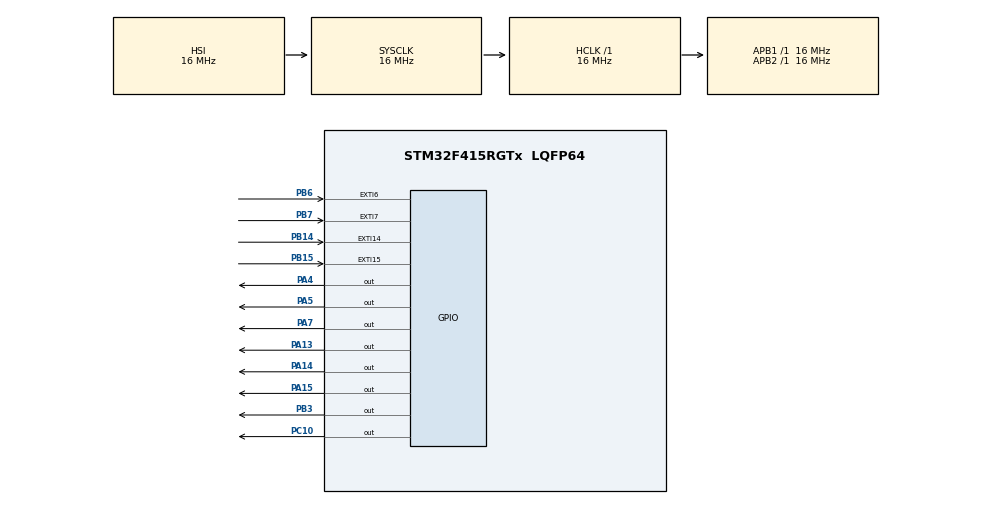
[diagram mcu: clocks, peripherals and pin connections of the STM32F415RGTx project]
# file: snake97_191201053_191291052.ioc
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Mcu.Family=STM32F4
Mcu.Name=STM32F415RGTx
Mcu.Package=LQFP64
NVIC.EXTI15_10_IRQn=true\:0\:0\:false\:false\:true\:true\:true
NVIC.EXTI9_5_IRQn=true\:0\:0\:false\:false\:true\:true\:true
NVIC.PriorityGroup=NVIC_PRIORITYGROUP_4
PA13.Signal=GPIO_Output
PA14.Signal=GPIO_Output
PA15.Signal=GPIO_Output
PA4.Signal=GPIO_Output
PA5.Signal=GPIO_Output
PA7.Signal=GPIO_Output
PB14.GPIO_PuPd=GPIO_PULLDOWN
PB14.Signal=GPXTI14
PB15.GPIO_PuPd=GPIO_PULLDOWN
PB15.Signal=GPXTI15
PB3.Signal=GPIO_Output
PB6.GPIO_PuPd=GPIO_PULLDOWN
PB6.Signal=GPXTI6
PB7.GPIO_PuPd=GPIO_PULLDOWN
PB7.Signal=GPXTI7
PC10.Signal=GPIO_Output
ProjectManager.HeapSize=0x200
ProjectManager.StackSize=0x400
ProjectManager.TargetToolchain=MDK-ARM V5.27
RCC.AHBFreq_Value=16000000
RCC.APB1Freq_Value=16000000
RCC.APB2Freq_Value=16000000
RCC.CortexFreq_Value=16000000
RCC.HSE_VALUE=25000000
RCC.HSI_VALUE=16000000
RCC.LSE_VALUE=32768
RCC.SYSCLKFreq_VALUE=16000000
RCC.VCOOutputFreq_Value=192000000
VP_RTC_VS_RTC_Activate.Mode=RTC_Enabled
VP_RTC_VS_RTC_Calendar.Mode=RTC_Calendar
board=custom

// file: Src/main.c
/* USER CODE BEGIN Header */
/**
  **********
  * @file           : main.c
  * @brief          : Main program body
  **********
  * @attention
  *
  * <h2><center>&copy; Copyright (c) 2021 STMicroelectronics.
  * All rights reserved.</center></h2>
  *
  * This software component is licensed by ST under BSD 3-Clause license,
  * the "License"; You may not use this file except in compliance with the
  * License. You may obtain a copy of the License at:
  *                        opensource.org/licenses/BSD-3-Clause
  *
  **********
  */
/* USER CODE END Header */
#include "main.h"
#include <stdlib.h>
#include <stdio.h>
#include "Nokia_5110.h"
#include "dwt_delay.h"

/* USER CODE BEGIN PD */

	#define YUKARI 0
	#define ASAGI 1
	#define SOL 2
	#define SAG 3

	#define ZOR 3
	#define ORTA 2
	#define KOLAY 1

/* USER CODE END PD */

RTC_HandleTypeDef hrtc;

/* USER CODE BEGIN PV */
	struct snake
	{
		uint8_t tail;
		uint8_t x_coor;
		uint8_t y_coor;
	};

	uint16_t RTC_counter = 0;
	uint8_t yon = YUKARI;
	uint8_t i;
	uint8_t fruit_x = 8;
	uint8_t fruit_y = 3;
	uint32_t diff = 0;
	uint8_t diffFlag = 0;
	uint8_t yilanin_neresi = 1; // Bu degisken yilan dizisinde nerede oldugumuzu gosterecek. Her yem yedigimizde artacak max 49 olacak
															// Ayni zamanda
	struct snake snake_array[50] = {0};
	struct snake snake_temp[50] = {0};

	char buffer_skor[5] = {0};
	char buffer_sure[16] = {0};

	int second = 0, minutes = 0, hours = 0;

	RTC_TimeTypeDef sTime;
  RTC_DateTypeDef sDate;

/* USER CODE END PV */

void SystemClock_Config(void);
static void MX_GPIO_Init(void);
static void MX_RTC_Init(void);
/* USER CODE BEGIN PFP */

void generateScreen(void);
void generateRandomFruitCoor(void);
void printRandomFruit(void);
void startMenu(void);
uint8_t selfCollisionControl(void);
uint8_t boundaryCollisionControl(void);

/* USER CODE END PFP */

int main(void)
{

  /* MCU Configuration--------------------------------------------------------*/

  /* Reset of all peripherals, Initializes the Flash interface and the Systick. */
  HAL_Init();

  /* Configure the system clock */
  SystemClock_Config();

  /* Initialize all configured peripherals */
  MX_GPIO_Init();
  MX_RTC_Init();
  /* USER CODE BEGIN 2 */
	NOKIA_Init();
	HAL_GPIO_WritePin(GPIOC, GPIO_PIN_10,GPIO_PIN_SET);
	snake_array[0].x_coor = 4;
	snake_array[0].y_coor = 5;
	snake_array[0].tail = 1;
	startMenu();
	generateRandomFruitCoor();
  /* USER CODE END 2 */

  /* Infinite loop */
  while (1)
  {

    /* USER CODE BEGIN 3 */
			if((selfCollisionControl()) || (boundaryCollisionControl()))
			{
			NOKIA_Clear();
			sprintf(buffer_skor," %d ",(uint32_t)(yilanin_neresi));
			uint8_t counter = 0;

			HAL_RTC_GetTime(&hrtc, &sTime, RTC_FORMAT_BIN);
			second = sTime.Seconds - (2) - (RTC_counter);
			minutes = sTime.Minutes;
			hours = sTime.Hours;
			sprintf(buffer_sure,"Sure: %d:%d:%d",hours,minutes,second);

			while(counter < 3)
			{
				for(i = 0; i < yilanin_neresi;i++)
				{
					NOKIA_Out(snake_array[i].y_coor, snake_array[i].x_coor,"0");
				}
				HAL_Delay(750);
				NOKIA_Clear();
				HAL_Delay(750);
				counter++;
			}

			NOKIA_Out(3,2,"Oyun Bitti");
			HAL_Delay(2000);
			NOKIA_Clear();

			NOKIA_Out(3,2,"Skor: ");
			NOKIA_Out(3,8,buffer_skor);

		  NOKIA_Out(5,1,buffer_sure);
			HAL_Delay(2000);

			break;

			}
			generateScreen();
			printRandomFruit();

			/*
			TODO: Her seyin basinda burada oyunun bitip bitmrdigi kontrol edilecek
			*/

			if(yon == YUKARI)
			{
				for(i = 0; i < yilanin_neresi;i++)
					{
						if(i == 0)
							{

								snake_temp[i].x_coor=snake_array[i].x_coor;
								snake_temp[i].y_coor=snake_array[i].y_coor;

								(snake_array[0].y_coor)-=1;
							}

						else if(i==1){
								snake_temp[i].x_coor=snake_array[i].x_coor;
								snake_temp[i].y_coor=snake_array[i].y_coor;

						 snake_array[i].x_coor=snake_temp[i-1].x_coor;
						 snake_array[i].y_coor=snake_temp[i-1].y_coor;

						}
						else if(i>1 && i<yilanin_neresi)
						{
							snake_temp[i].x_coor=snake_array[i].x_coor;
							snake_temp[i].y_coor=snake_array[i].y_coor;

							snake_array[i].x_coor = snake_temp[i - 1].x_coor;
							snake_array[i].y_coor = snake_temp[i - 1].y_coor;
						}
						NOKIA_Out(snake_array[i].y_coor, snake_array[i].x_coor,"0");
					}

			}else if(yon == ASAGI)
			{
				for(i = 0; i < yilanin_neresi;i++)
					{
					if(i == 0)
							{

								snake_temp[i].x_coor=snake_array[i].x_coor;
								snake_temp[i].y_coor=snake_array[i].y_coor;

								(snake_array[0].y_coor)+=1;
							}

						else if(i==1){
								snake_temp[i].x_coor=snake_array[i].x_coor;
								snake_temp[i].y_coor=snake_array[i].y_coor;

						 snake_array[i].x_coor=snake_temp[i-1].x_coor;
						 snake_array[i].y_coor=snake_temp[i-1].y_coor;

						}
						else if(i>1 && i<yilanin_neresi)
						{
							snake_temp[i].x_coor=snake_array[i].x_coor;
							snake_temp[i].y_coor=snake_array[i].y_coor;

							snake_array[i].x_coor = snake_temp[i - 1].x_coor;
							snake_array[i].y_coor = snake_temp[i - 1].y_coor;
						}
						NOKIA_Out(snake_array[i].y_coor, snake_array[i].x_coor,"0");
					}

			}else if(yon == SOL)
			{
				for(i = 0; i < yilanin_neresi;i++)
					{
					if(i == 0)
							{

								snake_temp[i].x_coor=snake_array[i].x_coor;
								snake_temp[i].y_coor=snake_array[i].y_coor;

								(snake_array[0].x_coor)-=1;
							}

						else if(i==1){
								snake_temp[i].x_coor=snake_array[i].x_coor;
								snake_temp[i].y_coor=snake_array[i].y_coor;

						 snake_array[i].x_coor=snake_temp[i-1].x_coor;
						 snake_array[i].y_coor=snake_temp[i-1].y_coor;

						}
						else if(i>1 && i<yilanin_neresi)
						{
							snake_temp[i].x_coor=snake_array[i].x_coor;
							snake_temp[i].y_coor=snake_array[i].y_coor;

							snake_array[i].x_coor = snake_temp[i - 1].x_coor;
							snake_array[i].y_coor = snake_temp[i - 1].y_coor;
						}
						NOKIA_Out(snake_array[i].y_coor, snake_array[i].x_coor,"0");
					}
			}else if(yon == SAG)
			{
				for(i = 0; i < yilanin_neresi;i++)
					{
						if(i == 0)
							{

								snake_temp[i].x_coor=snake_array[i].x_coor;
								snake_temp[i].y_coor=snake_array[i].y_coor;

								(snake_array[0].x_coor)+=1;
							}

						else if(i==1){
								snake_temp[i].x_coor=snake_array[i].x_coor;
								snake_temp[i].y_coor=snake_array[i].y_coor;

						 snake_array[i].x_coor=snake_temp[i-1].x_coor;
						 snake_array[i].y_coor=snake_temp[i-1].y_coor;

						}
						else if(i>1 && i<yilanin_neresi)
						{
							snake_temp[i].x_coor=snake_array[i].x_coor;
							snake_temp[i].y_coor=snake_array[i].y_coor;

							snake_array[i].x_coor = snake_temp[i - 1].x_coor;
							snake_array[i].y_coor = snake_temp[i - 1].y_coor;
						}
						NOKIA_Out(snake_array[i].y_coor, snake_array[i].x_coor,"0");
					}
			}

			HAL_Delay(1000 - (300*diff));
			NOKIA_Clear();

			if( (snake_array[0].x_coor == fruit_x ) && (snake_array[0].y_coor == fruit_y))
			{

				if(yon == YUKARI)
				{
					snake_array[yilanin_neresi].x_coor = snake_array[yilanin_neresi - 1].x_coor;
					snake_array[yilanin_neresi].y_coor = snake_array[yilanin_neresi - 1].y_coor + 1;
				}
				else if(yon == ASAGI)
				{
					snake_array[yilanin_neresi].x_coor = snake_array[yilanin_neresi - 1].x_coor;
					snake_array[yilanin_neresi].y_coor = snake_array[yilanin_neresi - 1].y_coor - 1;
				}
				else if(yon == SOL)
				{
					snake_array[yilanin_neresi].y_coor = snake_array[yilanin_neresi - 1].y_coor;
					snake_array[yilanin_neresi].x_coor = snake_array[yilanin_neresi - 1].x_coor + 1;
				}
				else if(yon == SAG)
				{
					snake_array[yilanin_neresi].y_coor = snake_array[yilanin_neresi - 1].y_coor;
					snake_array[yilanin_neresi].x_coor = snake_array[yilanin_neresi - 1].x_coor - 1;
				}
				yilanin_neresi++;
				generateRandomFruitCoor();
			}

	}
  /* USER CODE END 3 */
}

void SystemClock_Config(void)
{
  RCC_OscInitTypeDef RCC_OscInitStruct = {0};
  RCC_ClkInitTypeDef RCC_ClkInitStruct = {0};

  /** Configure the main internal regulator output voltage
  */
  __HAL_RCC_PWR_CLK_ENABLE();
  __HAL_PWR_VOLTAGESCALING_CONFIG(PWR_REGULATOR_VOLTAGE_SCALE1);
  /** Initializes the RCC Oscillators according to the specified parameters
  * in the RCC_OscInitTypeDef structure.
  */
  RCC_OscInitStruct.OscillatorType = RCC_OSCILLATORTYPE_HSI|RCC_OSCILLATORTYPE_LSI;
  RCC_OscInitStruct.HSIState = RCC_HSI_ON;
  RCC_OscInitStruct.HSICalibrationValue = RCC_HSICALIBRATION_DEFAULT;
  RCC_OscInitStruct.LSIState = RCC_LSI_ON;
  RCC_OscInitStruct.PLL.PLLState = RCC_PLL_NONE;
  if (HAL_RCC_OscConfig(&RCC_OscInitStruct) != HAL_OK)
  {
    Error_Handler();
  }
  /** Initializes the CPU, AHB and APB buses clocks
  */
  RCC_ClkInitStruct.ClockType = RCC_CLOCKTYPE_HCLK|RCC_CLOCKTYPE_SYSCLK
                              |RCC_CLOCKTYPE_PCLK1|RCC_CLOCKTYPE_PCLK2;
  RCC_ClkInitStruct.SYSCLKSource = RCC_SYSCLKSOURCE_HSI;
  RCC_ClkInitStruct.AHBCLKDivider = RCC_SYSCLK_DIV1;
  RCC_ClkInitStruct.APB1CLKDivider = RCC_HCLK_DIV1;
  RCC_ClkInitStruct.APB2CLKDivider = RCC_HCLK_DIV1;

  if (HAL_RCC_ClockConfig(&RCC_ClkInitStruct, FLASH_LATENCY_0) != HAL_OK)
  {
    Error_Handler();
  }
}

static void MX_RTC_Init(void)
{

  RTC_TimeTypeDef sTime = {0};
  RTC_DateTypeDef sDate = {0};

  /** Initialize RTC Only
  */
  hrtc.Instance = RTC;
  hrtc.Init.HourFormat = RTC_HOURFORMAT_24;
  hrtc.Init.AsynchPrediv = 127;
  hrtc.Init.SynchPrediv = 255;
  hrtc.Init.OutPut = RTC_OUTPUT_DISABLE;
  hrtc.Init.OutPutPolarity = RTC_OUTPUT_POLARITY_HIGH;
  hrtc.Init.OutPutType = RTC_OUTPUT_TYPE_OPENDRAIN;
  if (HAL_RTC_Init(&hrtc) != HAL_OK)
  {
    Error_Handler();
  }

  /** Initialize RTC and set the Time and Date
  */
  sTime.Hours = 0x0;
  sTime.Minutes = 0x0;
  sTime.Seconds = 0x0;
  sTime.DayLightSaving = RTC_DAYLIGHTSAVING_NONE;
  sTime.StoreOperation = RTC_STOREOPERATION_RESET;
  if (HAL_RTC_SetTime(&hrtc, &sTime, RTC_FORMAT_BCD) != HAL_OK)
  {
    Error_Handler();
  }
  sDate.WeekDay = RTC_WEEKDAY_MONDAY;
  sDate.Month = RTC_MONTH_JANUARY;
  sDate.Date = 0x1;
  sDate.Year = 0x0;

  if (HAL_RTC_SetDate(&hrtc, &sDate, RTC_FORMAT_BCD) != HAL_OK)
  {
    Error_Handler();
  }

}

static void MX_GPIO_Init(void)
{
  GPIO_InitTypeDef GPIO_InitStruct = {0};

  /* GPIO Ports Clock Enable */
  __HAL_RCC_GPIOA_CLK_ENABLE();
  __HAL_RCC_GPIOB_CLK_ENABLE();
  __HAL_RCC_GPIOC_CLK_ENABLE();

  /*Configure GPIO pin Output Level */
  HAL_GPIO_WritePin(GPIOA, GPIO_PIN_4|GPIO_PIN_5|GPIO_PIN_7|GPIO_PIN_13
                          |GPIO_PIN_14|GPIO_PIN_15, GPIO_PIN_RESET);

  /*Configure GPIO pin Output Level */
  HAL_GPIO_WritePin(GPIOC, GPIO_PIN_10, GPIO_PIN_RESET);

  /*Configure GPIO pin Output Level */
  HAL_GPIO_WritePin(GPIOB, GPIO_PIN_3, GPIO_PIN_RESET);

  /*Configure GPIO pins : PA4 PA5 PA7 PA13
                           PA14 PA15 */
  GPIO_InitStruct.Pin = GPIO_PIN_4|GPIO_PIN_5|GPIO_PIN_7|GPIO_PIN_13
                          |GPIO_PIN_14|GPIO_PIN_15;
  GPIO_InitStruct.Mode = GPIO_MODE_OUTPUT_PP;
  GPIO_InitStruct.Pull = GPIO_NOPULL;
  GPIO_InitStruct.Speed = GPIO_SPEED_FREQ_LOW;
  HAL_GPIO_Init(GPIOA, &GPIO_InitStruct);

  /*Configure GPIO pins : PB14 PB15 PB6 PB7 */
  GPIO_InitStruct.Pin = GPIO_PIN_14|GPIO_PIN_15|GPIO_PIN_6|GPIO_PIN_7;
  GPIO_InitStruct.Mode = GPIO_MODE_IT_RISING;
  GPIO_InitStruct.Pull = GPIO_PULLDOWN;
  HAL_GPIO_Init(GPIOB, &GPIO_InitStruct);

  /*Configure GPIO pin : PC10 */
  GPIO_InitStruct.Pin = GPIO_PIN_10;
  GPIO_InitStruct.Mode = GPIO_MODE_OUTPUT_PP;
  GPIO_InitStruct.Pull = GPIO_NOPULL;
  GPIO_InitStruct.Speed = GPIO_SPEED_FREQ_LOW;
  HAL_GPIO_Init(GPIOC, &GPIO_InitStruct);

  /*Configure GPIO pin : PB3 */
  GPIO_InitStruct.Pin = GPIO_PIN_3;
  GPIO_InitStruct.Mode = GPIO_MODE_OUTPUT_PP;
  GPIO_InitStruct.Pull = GPIO_NOPULL;
  GPIO_InitStruct.Speed = GPIO_SPEED_FREQ_LOW;
  HAL_GPIO_Init(GPIOB, &GPIO_InitStruct);

  /* EXTI interrupt init*/
  HAL_NVIC_SetPriority(EXTI9_5_IRQn, 0, 0);
  HAL_NVIC_EnableIRQ(EXTI9_5_IRQn);

  HAL_NVIC_SetPriority(EXTI15_10_IRQn, 0, 0);
  HAL_NVIC_EnableIRQ(EXTI15_10_IRQn);

}

/* USER CODE BEGIN 4 */
void HAL_GPIO_EXTI_Callback(uint16_t GPIO_Pin)
{

	if(GPIO_Pin == GPIO_PIN_14) // If The INT Source Is EXTI Line9 (A9 Pin)
    {
			yon = YUKARI;
			if(!diffFlag)
			{
				diff = ZOR;
				yon = YUKARI;
				diffFlag = 1;
			}
    }
	else if(GPIO_Pin == GPIO_PIN_15) // If The INT Source Is EXTI Line9 (A9 Pin)
    {
			yon = ASAGI;
			if(!diffFlag)
			{
				diff = KOLAY;
				yon = YUKARI;
				diffFlag = 1;
			}
    }
	else if(GPIO_Pin == GPIO_PIN_6) // If The INT Source Is EXTI Line9 (A9 Pin)
    {
			yon = SAG;
    }
	else if(GPIO_Pin == GPIO_PIN_7) // If The INT Source Is EXTI Line9 (A9 Pin)
    {
			yon = SOL;
			if(!diffFlag)
			{
				diff = ORTA;
				yon = YUKARI;
				diffFlag = 1;
			}
    }
}
void generateScreen(void)
{
	NOKIA_Out(1,1,"**************");
	NOKIA_Out(2,1,"*            *");
	NOKIA_Out(3,1,"*            *");
	NOKIA_Out(4,1,"*            *");
	NOKIA_Out(5,1,"*            *");
	NOKIA_Out(6,1,"**************");
}

void printRandomFruit(void)
{
	NOKIA_Out(fruit_y,fruit_x,"*");
}

void startMenu(void)
{

	NOKIA_Out(1,4,"SNAKE'97");
	NOKIA_Out(2,4,"ABB & EK");
	HAL_Delay(2000);

	NOKIA_Clear();

	NOKIA_Out(1,2,"Zorluk Secin");
	NOKIA_Out(3,2,"Kolay Asagi");
	NOKIA_Out(4,2,"Zor  Yukari");
	NOKIA_Out(5,2,"Orta    Sol");

	while(!(HAL_GPIO_ReadPin(GPIOB,GPIO_PIN_14) || HAL_GPIO_ReadPin(GPIOB,GPIO_PIN_15) || HAL_GPIO_ReadPin(GPIOB,GPIO_PIN_6) || HAL_GPIO_ReadPin(GPIOB,GPIO_PIN_7)))
	{
		HAL_Delay(1000);
		RTC_counter++;
	}

}

void generateRandomFruitCoor(void)
{
		//rand() % (max_number + 1 - minimum_number) + minimum_number
	fruit_x = rand() % (13 + 1 - 2) + 2;
	fruit_y = rand() % (5 + 1 - 2) + 2;
}

uint8_t selfCollisionControl(void)
{
	if(yilanin_neresi > 1)
		{
		for(i = 1; i < yilanin_neresi; i++)
		{
			if((snake_array[i].x_coor == snake_array[0].x_coor) && (snake_array[i].y_coor == snake_array[0].y_coor))
			{
				return 1;
			}

		}
	}
			return 0;
}

uint8_t boundaryCollisionControl(void)
{
	if((snake_array[0].x_coor == 1) || (snake_array[0].y_coor == 1) || (snake_array[0].x_coor == 14) || (snake_array[0].y_coor == 6))
	{
		return 1;
	}
	return 0;
}
/* USER CODE END 4 */

void Error_Handler(void)
{
  __disable_irq();
  while (1)
  {
  }
}

/*** (C) COPYRIGHT STMicroelectronics **END OF FILE*/
